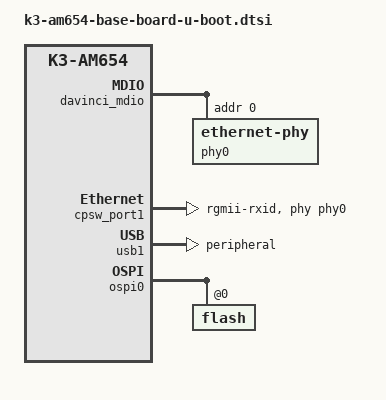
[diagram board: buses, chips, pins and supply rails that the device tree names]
// SPDX-License-Identifier: GPL-2.0
/*
 * Copyright (C) 2018 Texas Instruments Incorporated - http://www.ti.com/
 */

#include <dt-bindings/pinctrl/k3.h>
#include <dt-bindings/dma/k3-udma.h>
#include <dt-bindings/net/ti-dp83867.h>

/ {
	chosen {
		stdout-path = "serial2:115200n8";
	};
	board {
		compatible = "ti,am654-evm";
		u-boot,dm-spl;
	};
	aliases {
		serial2 = &main_uart0;
		ethernet0 = &cpsw_port1;
	};
};

&cbass_main {
	u-boot,dm-spl;
};

&cbass_mcu {
	u-boot,dm-spl;
};

&cbass_mcu_navss {
	u-boot,dm-spl;
};

&mcu_ringacc {
	u-boot,dm-spl;
};

&mcu_udmap {
	u-boot,dm-spl;
};

&cbass_wakeup {
	u-boot,dm-spl;
};

&cbass_main_navss {
	u-boot,dm-spl;
};

&secure_proxy_main {
	u-boot,dm-spl;
};

&dmsc {
	u-boot,dm-spl;
	k3_sysreset: sysreset-controller {
		compatible = "ti,sci-sysreset";
		u-boot,dm-spl;
	};
};

&k3_pds {
	u-boot,dm-spl;
};

&k3_clks {
	u-boot,dm-spl;
};

&k3_reset {
	u-boot,dm-spl;
};

&wkup_pmx0 {
	u-boot,dm-spl;

	wkup_i2c0_pins_default {
		u-boot,dm-spl;
	};
};

&main_pmx0 {
	u-boot,dm-spl;
};

&main_uart0_pins_default {
	u-boot,dm-spl;
};

&main_pmx1 {
	u-boot,dm-spl;
};

&main_uart0 {
	u-boot,dm-spl;
	/delete-property/ power-domains;
};

&main_mmc0_pins_default {
	u-boot,dm-spl;
};

&main_mmc1_pins_default {
	u-boot,dm-spl;
};

&sdhci0 {
	u-boot,dm-spl;
};

&sdhci1 {
	u-boot,dm-spl;
};

&mcu_cpsw {
	pinctrl-names = "default";
	pinctrl-0 = <&mcu_cpsw_pins_default &mcu_mdio_pins_default>;
};

&davinci_mdio {
	phy0: ethernet-phy@0 {
		reg = <0>;
		/* TODO: phy reset: TCA9555RTWR(i2c:0x21)[p04].GPIO_MCU_RGMII_RSTN */
		ti,rx-internal-delay = <DP83867_RGMIIDCTL_2_00_NS>;
		ti,fifo-depth = <DP83867_PHYCR_FIFO_DEPTH_4_B_NIB>;
	};
};

&cpsw_port1 {
	phy-mode = "rgmii-rxid";
	phy-handle = <&phy0>;
};

&wkup_i2c0 {
	u-boot,dm-spl;
};

&msmc_ram {
	icssg0_sram: icssg0-sram@40000 {
		reg = <0x40000 0x10000>;
	};
	icssg1_sram: icssg1-sram@50000 {
		reg = <0x50000 0x10000>;
	};
	icssg2_sram: icssg2-sram@60000 {
		reg = <0x60000 0x10000>;
	};
};

&usb1 {
	dr_mode = "peripheral";
};

&fss {
	u-boot,dm-spl;
};

&ospi0 {
	u-boot,dm-spl;

	flash@0 {
		u-boot,dm-spl;
	};
};

&chipid {
	u-boot,dm-spl;
};
